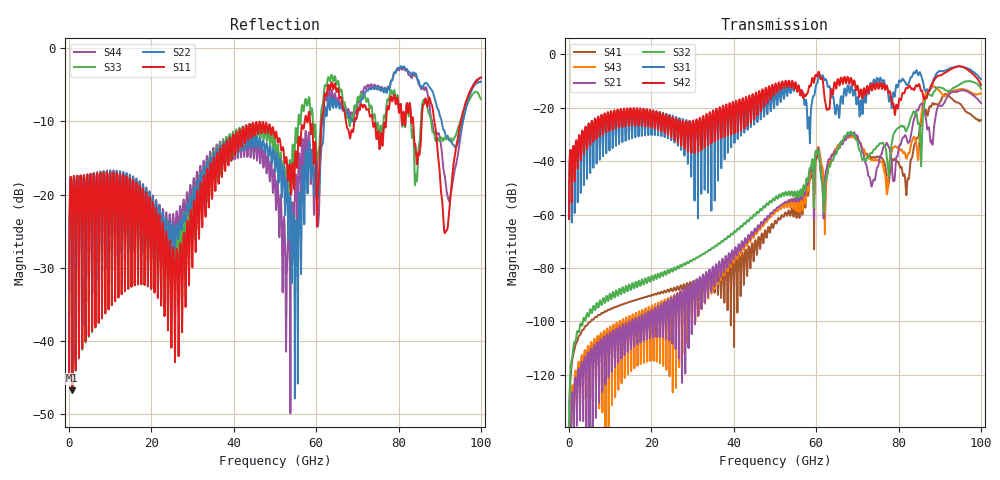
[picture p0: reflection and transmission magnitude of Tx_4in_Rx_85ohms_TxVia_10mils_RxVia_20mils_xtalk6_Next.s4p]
! Info: Touchstone file created by Circ.  Input file=Tx_4in_Rx_85ohms_TxVia_10mils_RxVia_20mils.circ
# Hz S RI R 50
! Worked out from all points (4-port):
!   10000 points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, 10 MHz to 100 GHz, reference 50 ohm
!   strongest paths, dB at 10 MHz, 25.01 GHz, 50.01 GHz, 75.01 GHz, 100 GHz:
!     S42: -61.6, -25.8, -11.8, -12.2, -11.5
!     S31: -61.6, -25.1, -14.9, -9.6, -9.3
!     S32: -144.6, -81.1, -54.4, -34.2, -12.9
!     S21: -160.3, -99.6, -58.4, -42.0, -18.2
!     S43: -146.6, -94.3, -59.2, -39.7, -14.6
!     S41: -144.7, -88.5, -62.3, -38.5, -24.6
!   lowest |S11| = -46.7 dB at 800 MHz (marker M1), VSWR 1.01, Z = 49.6 - j0.148 ohm
!   |S11| at or under -10 dB: start of sweep to 57.21 GHz; 73.7 GHz to 76.99 GHz (3.29 GHz wide, 4.37 % of centre); 88.7 GHz to 95.17 GHz (6.468 GHz wide, 7.04 % of centre) (the widest 3 of 10)
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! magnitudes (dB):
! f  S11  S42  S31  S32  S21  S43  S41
! 10 MHz  -44.8  -61.6  -61.6  -144.6  -160.3  -146.6  -144.7
! 800 MHz  -46.7  -39.3  -39.4  -113.3  -126.7  -124.0  -114.1
! 37.39 GHz  -13.8  -19.2  -20.7  -70.1  -77.6  -78.8  -79.9
! 60.36 GHz  -20.3  -7.6  -10.3  -35.8  -35.4  -35.2  -36.0
! 77.12 GHz  -8.9  -11.6  -12.2  -38.1  -33.1  -51.9  -46.4
! 87.97 GHz  -7.6  -11.4  -12.0  -15.4  -32.2  -12.6  -19.4
! 100 GHz  -4.1  -11.5  -9.3  -12.9  -18.2  -14.6  -24.6
